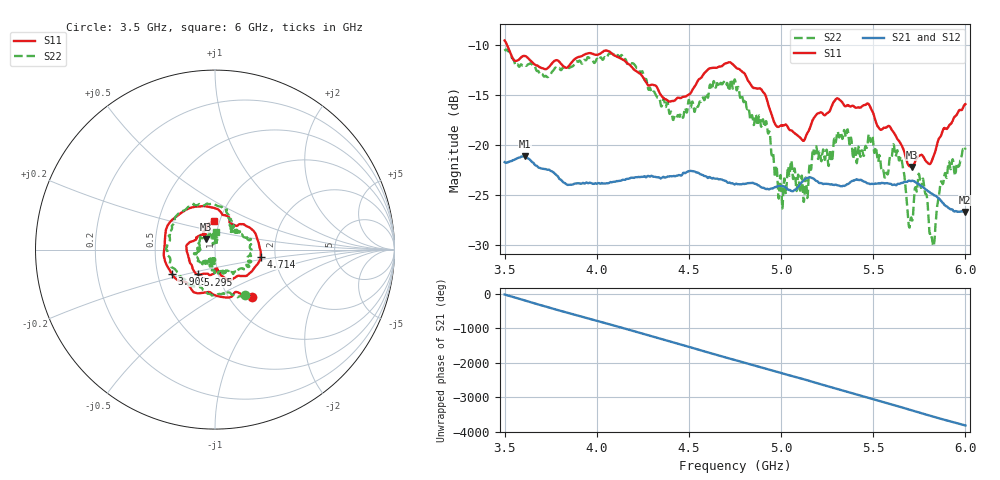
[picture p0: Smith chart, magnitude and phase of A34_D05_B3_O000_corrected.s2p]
! Created with skrf 1.9.0 (http://scikit-rf.org).
# Hz S RI R 50.0
!freq ReS11 ImS11 ReS21 ImS21 ReS12 ImS12 ReS22 ImS22
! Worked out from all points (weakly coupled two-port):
!   1601 points, 3.5 GHz to 6 GHz, reference 50 ohm
!   highest |S21| = -21.14 dB at 3.609 GHz (marker M1); lowest = -26.7 dB at 5.997 GHz (marker M2)
!   lowest |S11| = -22.2 dB at 5.709 GHz (marker M3), VSWR 1.17, Z = 45 + j5.35 ohm
!   |S11| at or under -10 dB: 3.513 GHz to end of sweep
!   |S22| runs from -30.1 to -10.4 dB; largest |S21 - S12| = 0.00099
!   S11 on the Smith chart (normalised r, x): 3.5 GHz: 1.27, -0.75; 3.909 GHz: 0.59, -0.17; 4.714 GHz: 1.68, -0.14; 5.295 GHz: 0.80, -0.23; 6 GHz: 0.94, +0.31
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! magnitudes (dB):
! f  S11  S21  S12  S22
! 3.5 GHz  -9.6  -21.7  -21.7  -10.4
! 3.609 GHz  -11.1  -21.1  -21.2  -12.0
! 3.909 GHz  -11.2  -23.9  -23.8  -11.6
! 3.917 GHz  -11.1  -23.9  -23.8  -11.8
! 4.127 GHz  -11.3  -23.6  -23.6  -11.2
! 4.334 GHz  -14.6  -23.2  -23.2  -15.4
! 4.714 GHz  -11.8  -23.8  -23.8  -14.4
! 4.75 GHz  -12.2  -24.0  -23.9  -13.5
! 4.928 GHz  -15.8  -24.4  -24.4  -18.8
! 4.997 GHz  -18.1  -24.1  -24.1  -23.0
! 5.048 GHz  -18.5  -24.5  -24.5  -22.6
! 5.133 GHz  -19.2  -23.4  -23.4  -23.3
! 5.167 GHz  -17.7  -23.3  -23.3  -21.5
! 5.295 GHz  -15.5  -24.0  -23.9  -19.8
! 5.584 GHz  -18.1  -23.9  -23.8  -22.2
! 5.642 GHz  -19.7  -23.9  -23.9  -21.6
! 5.709 GHz  -22.2  -23.6  -23.5  -27.5
! 5.759 GHz  -21.0  -24.1  -24.1  -24.3
! 5.823 GHz  -21.3  -24.9  -24.9  -30.0
! 5.875 GHz  -18.7  -25.8  -25.7  -23.8
! 5.997 GHz  -16.0  -26.7  -26.6  -20.6
! 6 GHz  -15.9  -26.7  -26.7  -20.3
